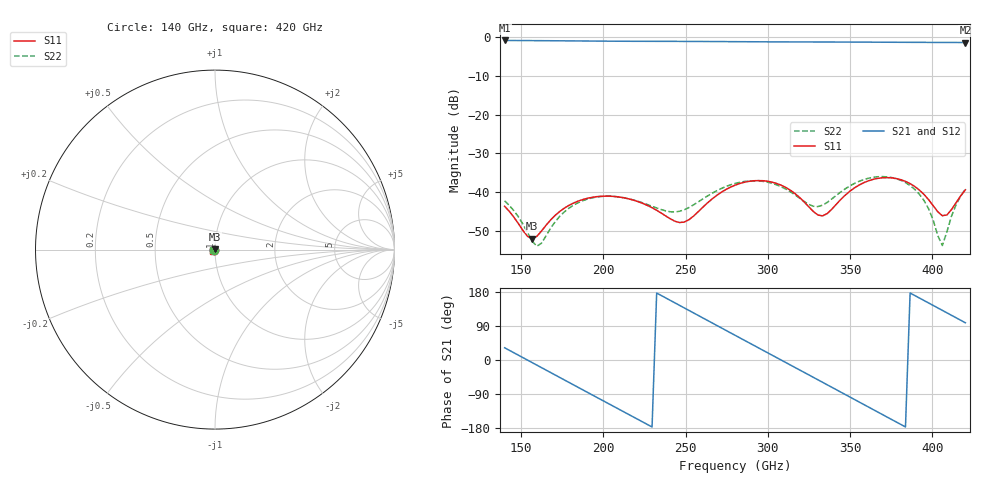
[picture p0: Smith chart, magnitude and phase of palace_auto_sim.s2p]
#  GHZ S DB R 50
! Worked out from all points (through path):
!   101 points, 140 GHz to 420 GHz, reference 50 ohm
!   highest |S21| = -0.80 dB at 140 GHz (marker M1); lowest = -1.3 dB at 420 GHz (marker M2)
!   group delay of S21, straight-line fit = 6.49 ps
!   lowest |S11| = -52.1 dB at 156.8 GHz (marker M3), VSWR 1.00, Z = 50.1 + j0.223 ohm
!   |S11| at or under -10 dB: start of sweep to end of sweep
!   |S22| runs from -54.0 to -36.0 dB; largest |S21 - S12| = 1e-13
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140  -43.69 -173.4  -0.80 32.3  -0.80 32.3  -42.31 -169.3
156.8  -52.12 63.8  -0.84 -7.0  -0.84 -7.0  -52.80 91.9
162.4  -50.12 7.9  -0.86 -20.1  -0.86 -20.1  -53.26 19.1
170.8  -46.03 -45.0  -0.88 -39.7  -0.88 -39.7  -47.68 -47.3
187.6  -41.95 -120.2  -0.94 -79.0  -0.94 -79.0  -42.24 -122.5
207.2  -41.19 161.4  -1.00 -124.6  -1.00 -124.6  -41.18 160.0
221.2  -42.53 108.5  -1.02 -157.2  -1.02 -157.2  -42.44 104.5
235.2  -45.47 49.8  -1.03 170.2  -1.03 170.2  -44.57 40.0
249.2  -47.79 -42.4  -1.05 137.4  -1.05 137.4  -44.61 -43.5
260.4  -43.98 -115.7  -1.07 111.2  -1.07 111.2  -41.82 -104.1
280  -38.26 165.7  -1.11 65.3  -1.11 65.3  -37.80 177.2
294  -37.06 119.3  -1.15 32.6  -1.15 32.6  -37.14 128.2
305.2  -37.79 82.2  -1.17 6.5  -1.17 6.5  -38.15 87.9
327.6  -45.06 -21.1  -1.20 -45.7  -1.20 -45.7  -43.71 -27.7
336  -45.60 -94.0  -1.20 -65.4  -1.20 -65.4  -42.71 -87.9
350  -39.75 -171.3  -1.22 -98.1  -1.22 -98.1  -38.39 -154.6
361.2  -37.10 150.7  -1.24 -124.3  -1.24 -124.3  -36.44 168.0
375.2  -36.36 108.2  -1.27 -157.1  -1.27 -157.1  -36.28 126.5
392  -39.50 52.6  -1.30 163.7  -1.30 163.7  -40.57 75.8
406  -46.16 -39.1  -1.32 131.0  -1.32 131.0  -53.88 -44.4
414.4  -42.73 -117.4  -1.33 111.3  -1.33 111.3  -43.24 -133.0
420  -39.45 -146.5  -1.33 98.2  -1.33 98.2  -39.26 -153.5
